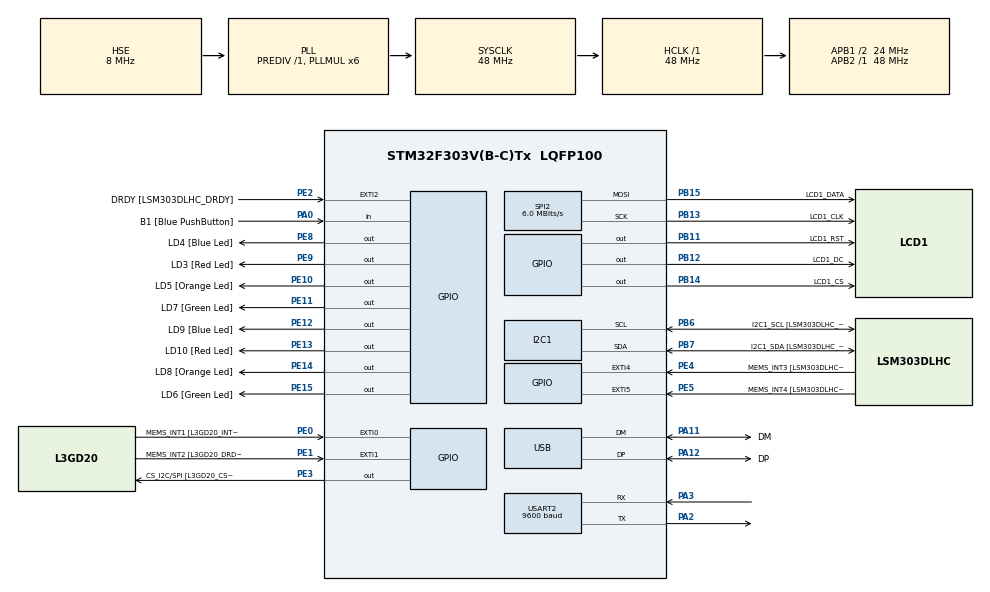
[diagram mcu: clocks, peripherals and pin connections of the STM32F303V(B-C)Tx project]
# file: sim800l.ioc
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I2C1.Timing=0x00201D2B
I2C1.Timing-I2C=0x2000090E
Mcu.Family=STM32F3
Mcu.Name=STM32F303V(B-C)Tx
Mcu.Package=LQFP100
NVIC.PriorityGroup=NVIC_PRIORITYGROUP_0
NVIC.USART2_IRQn=true\:0\:0\:false\:false\:true\:true\:true\:true
PA0.GPIO_Label=B1 [Blue PushButton]
PA0.Signal=GPIO_Input
PA11.GPIO_Label=DM
PA11.Mode=Device
PA11.Signal=USB_DM
PA12.GPIO_Label=DP
PA12.Mode=Device
PA12.Signal=USB_DP
PA13.GPIO_Label=SWDIO
PA13.Mode=Serial_Wire
PA13.Signal=SYS_JTMS-SWDIO
PA14.GPIO_Label=SWCLK
PA14.Mode=Serial_Wire
PA14.Signal=SYS_JTCK-SWCLK
PA2.Mode=Asynchronous
PA2.Signal=USART2_TX
PA3.Mode=Asynchronous
PA3.Signal=USART2_RX
PA5.GPIO_Label=SPI1_SCK [L3GD20_SCL/SPC]
PA5.Signal=SPI1_SCK
PA6.GPIO_Label=SPI1_MISO [L3GD20_SA0/SDO]
PA6.Signal=SPI1_MISO
PA7.GPIO_Label=SPI1_MISO [L3GD20_SDA/SDI/SDO]
PA7.Signal=SPI1_MOSI
PB11.GPIO_Label=LCD1_RST
PB11.Signal=GPIO_Output
PB12.GPIO_Label=LCD1_DC
PB12.Signal=GPIO_Output
PB13.GPIO_Label=LCD1_CLK
PB13.Mode=TX_Only_Simplex_Unidirect_Master
PB13.Signal=SPI2_SCK
PB14.GPIO_Label=LCD1_CS
PB14.Signal=GPIO_Output
PB15.GPIO_Label=LCD1_DATA
PB15.Mode=TX_Only_Simplex_Unidirect_Master
PB15.Signal=SPI2_MOSI
PB3.GPIO_Label=SWO
PB3.Signal=SYS_JTDO-TRACESWO
PB6.GPIO_Label=I2C1_SCL [LSM303DLHC_SCL]
PB6.GPIO_Pu=GPIO_PULLUP
PB6.Mode=I2C
PB6.Signal=I2C1_SCL
PB7.GPIO_Label=I2C1_SDA [LSM303DLHC_SDA]
PB7.GPIO_Pu=GPIO_PULLUP
PB7.Mode=I2C
PB7.Signal=I2C1_SDA
PC14-OSC32_IN.GPIO_Label=OSC32_IN
PC14-OSC32_IN.Signal=RCC_OSC32_IN
PC15-OSC32_OUT.GPIO_Label=OSC32_OUT
PC15-OSC32_OUT.Signal=RCC_OSC32_OUT
PE0.GPIO_Label=MEMS_INT1 [L3GD20_INT1]
PE0.GPIO_ModeDefaultEXTI=GPIO_MODE_EVT_RISING
PE0.Signal=GPXTI0
PE1.GPIO_Label=MEMS_INT2 [L3GD20_DRDY/INT2]
PE1.GPIO_ModeDefaultEXTI=GPIO_MODE_EVT_RISING
PE1.Signal=GPXTI1
PE10.GPIO_Label=LD5 [Orange Led]
PE10.Signal=GPIO_Output
PE11.GPIO_Label=LD7 [Green Led]
PE11.Signal=GPIO_Output
PE12.GPIO_Label=LD9 [Blue Led]
PE12.Signal=GPIO_Output
PE13.GPIO_Label=LD10 [Red Led]
PE13.Signal=GPIO_Output
PE14.GPIO_Label=LD8 [Orange Led]
PE14.Signal=GPIO_Output
PE15.GPIO_Label=LD6 [Green Led]
PE15.Signal=GPIO_Output
PE2.GPIO_Label=DRDY [LSM303DLHC_DRDY]
PE2.GPIO_ModeDefaultEXTI=GPIO_MODE_EVT_RISING
PE2.Signal=GPXTI2
PE3.GPIO_Label=CS_I2C/SPI [L3GD20_CS_I2C/SPI]
PE3.Signal=GPIO_Output
PE4.GPIO_Label=MEMS_INT3 [LSM303DLHC_INT1]
PE4.GPIO_ModeDefaultEXTI=GPIO_MODE_EVT_RISING
PE4.Signal=GPXTI4
PE5.GPIO_Label=MEMS_INT4 [LSM303DLHC_INT2]
PE5.GPIO_ModeDefaultEXTI=GPIO_MODE_EVT_RISING
PE5.Signal=GPXTI5
PE8.GPIO_Label=LD4 [Blue Led]
PE8.Signal=GPIO_Output
PE9.GPIO_Label=LD3 [Red Led]
PE9.Signal=GPIO_Output
PF0-OSC_IN.GPIO_Label=OSC_IN
PF0-OSC_IN.Mode=HSE-External-Oscillator
PF0-OSC_IN.Signal=RCC_OSC_IN
PF1-OSC_OUT.GPIO_Label=OSC_OUT
PF1-OSC_OUT.Mode=HSE-External-Oscillator
PF1-OSC_OUT.Signal=RCC_OSC_OUT
ProjectManager.HeapSize=0x200
ProjectManager.StackSize=0x400
ProjectManager.TargetToolchain=STM32CubeIDE
RCC.AHBFreq_Value=48000000
RCC.APB1CLKDivider=RCC_HCLK_DIV2
RCC.APB1Freq_Value=24000000
RCC.APB1TimFreq_Value=48000000
RCC.APB2Freq_Value=48000000
RCC.APB2TimFreq_Value=48000000
RCC.CortexFreq_Value=48000000
RCC.HCLKFreq_Value=48000000
RCC.HSE_VALUE=8000000
RCC.HSI_VALUE=8000000
RCC.LSE_VALUE=32768
RCC.PLLMUL=RCC_PLL_MUL6
RCC.SYSCLKFreq_VALUE=48000000
RCC.SYSCLKSourceVirtual=RCC_SYSCLKSOURCE_PLLCLK
RCC.USBFreq_Value=48000000
SPI2.BaudRatePrescaler=SPI_BAUDRATEPRESCALER_4
SPI2.CalculateBaudRate=6.0 MBits/s
SPI2.DataSize=SPI_DATASIZE_8BIT
SPI2.Direction=SPI_DIRECTION_2LINES
SPI2.Mode=SPI_MODE_MASTER
SPI2.VirtualType=VM_MASTER
USART2.BaudRate=9600
USART2.VirtualMode-Asynchronous=VM_ASYNC
board=STM32F3DISCOVERY

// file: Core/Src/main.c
/* USER CODE BEGIN Header */
/**
  ******************************************************************************
  * @file           : main.c
  * @brief          : Main program body
  ******************************************************************************
  * @attention
  *
  * Copyright (c) 2025 STMicroelectronics.
  * All rights reserved.
  *
  * This software is licensed under terms that can be found in the LICENSE file
  * in the root directory of this software component.
  * If no LICENSE file comes with this software, it is provided AS-IS.
  *
  ******************************************************************************
  */
/* USER CODE END Header */
#include "main.h"
#include "i2c.h"
#include "spi.h"
#include "usart.h"
#include "usb.h"
#include "gpio.h"

/* USER CODE BEGIN Includes */
#include "sim800l.h"
#include "sim800l_conf.h"
#include <string.h>
#include <stdint.h>
#include <stdio.h>

#include "lcd5110.h"
#include "lcd_shared.h"
/* USER CODE END Includes */

/* USER CODE BEGIN PD */
//#define PHONE_NUMBER "+380984708845";
//#define SMS "SIM800 - hello";

LCD5110_display lcd1;
//uint8_t RxData;
/* USER CODE END PD */

void SystemClock_Config(void);

int main(void)
{

  /* MCU Configuration--------------------------------------------------------*/

  /* Reset of all peripherals, Initializes the Flash interface and the Systick. */
  HAL_Init();

  /* USER CODE BEGIN Init */
//
  /* USER CODE END Init */

  /* Configure the system clock */
  SystemClock_Config();

  /* Initialize all configured peripherals */

  MX_GPIO_Init();
  MX_I2C1_Init();
  MX_USB_PCD_Init();
  MX_USART2_UART_Init();
  MX_SPI2_Init();
  /* USER CODE BEGIN 2 */

  	lcd1.hw_conf.spi_handle = &hspi2;
	lcd1.hw_conf.spi_cs_pin =  LCD1_CS_Pin;
	lcd1.hw_conf.spi_cs_port = LCD1_CS_GPIO_Port;
	lcd1.hw_conf.rst_pin =  LCD1_RST_Pin;
	lcd1.hw_conf.rst_port = LCD1_RST_GPIO_Port;
	lcd1.hw_conf.dc_pin =  LCD1_DC_Pin;
	lcd1.hw_conf.dc_port = LCD1_DC_GPIO_Port;
	lcd1.def_scr = lcd5110_def_scr;
	HAL_Delay(200);

	LCD5110_init(&lcd1.hw_conf, LCD5110_NORMAL_MODE, 0x40, 2, 3);

  /* USER CODE END 2 */

  /* Infinite loop */
  /* USER CODE BEGIN WHILE */
  while (1)
  {
	  sim800l_set_led_pins(
		  GPIOE, GPIO_PIN_11, // LED 1
		  GPIOE, GPIO_PIN_9,  // LED 2
		  GPIOE, GPIO_PIN_10, // LED 3
		  GPIOE, GPIO_PIN_12  // LED 4
	  );
//	  HAL_Delay(2000);
	  SIM800L_UART_INSTANCE = &huart2;
	  while(1) {

		  HAL_Delay(500);
		  sim800l_send_command("ATE0");
		  HAL_Delay(500);
		  sim800l_init(SIM800L_UART_INSTANCE);
		  HAL_Delay(500);
		  LCD5110_clear_scr(&lcd1);
		  HAL_Delay(1000);
		  LCD5110_print((char *)RxData, BLACK, &lcd1);
		  HAL_Delay(1000);
		  if (strstr((char *)RxData, "OK")) {
			  break;
		  }
	  }
	  HAL_Delay(1000);
	  LCD5110_clear_scr(&lcd1);
	  clear_buffs_flags();

	  while(1) {
		  signal_rate();
		  HAL_Delay(500);
		  LCD5110_print((char *)RxData, BLACK, &lcd1);
	  }

    /* USER CODE END WHILE */

	}
}

void SystemClock_Config(void)
{
  RCC_OscInitTypeDef RCC_OscInitStruct = {0};
  RCC_ClkInitTypeDef RCC_ClkInitStruct = {0};
  RCC_PeriphCLKInitTypeDef PeriphClkInit = {0};

  /** Initializes the RCC Oscillators according to the specified parameters
  * in the RCC_OscInitTypeDef structure.
  */
  RCC_OscInitStruct.OscillatorType = RCC_OSCILLATORTYPE_HSI|RCC_OSCILLATORTYPE_HSE;
  RCC_OscInitStruct.HSEState = RCC_HSE_ON;
  RCC_OscInitStruct.HSEPredivValue = RCC_HSE_PREDIV_DIV1;
  RCC_OscInitStruct.HSIState = RCC_HSI_ON;
  RCC_OscInitStruct.HSICalibrationValue = RCC_HSICALIBRATION_DEFAULT;
  RCC_OscInitStruct.PLL.PLLState = RCC_PLL_ON;
  RCC_OscInitStruct.PLL.PLLSource = RCC_PLLSOURCE_HSE;
  RCC_OscInitStruct.PLL.PLLMUL = RCC_PLL_MUL6;
  if (HAL_RCC_OscConfig(&RCC_OscInitStruct) != HAL_OK)
  {
    Error_Handler();
  }

  /** Initializes the CPU, AHB and APB buses clocks
  */
  RCC_ClkInitStruct.ClockType = RCC_CLOCKTYPE_HCLK|RCC_CLOCKTYPE_SYSCLK
                              |RCC_CLOCKTYPE_PCLK1|RCC_CLOCKTYPE_PCLK2;
  RCC_ClkInitStruct.SYSCLKSource = RCC_SYSCLKSOURCE_PLLCLK;
  RCC_ClkInitStruct.AHBCLKDivider = RCC_SYSCLK_DIV1;
  RCC_ClkInitStruct.APB1CLKDivider = RCC_HCLK_DIV2;
  RCC_ClkInitStruct.APB2CLKDivider = RCC_HCLK_DIV1;

  if (HAL_RCC_ClockConfig(&RCC_ClkInitStruct, FLASH_LATENCY_1) != HAL_OK)
  {
    Error_Handler();
  }
  PeriphClkInit.PeriphClockSelection = RCC_PERIPHCLK_USB|RCC_PERIPHCLK_USART2
                              |RCC_PERIPHCLK_I2C1;
  PeriphClkInit.Usart2ClockSelection = RCC_USART2CLKSOURCE_PCLK1;
  PeriphClkInit.I2c1ClockSelection = RCC_I2C1CLKSOURCE_HSI;
  PeriphClkInit.USBClockSelection = RCC_USBCLKSOURCE_PLL;
  if (HAL_RCCEx_PeriphCLKConfig(&PeriphClkInit) != HAL_OK)
  {
    Error_Handler();
  }
}

void Error_Handler(void)
{
  __disable_irq();
  while (1)
  {
  }
}
